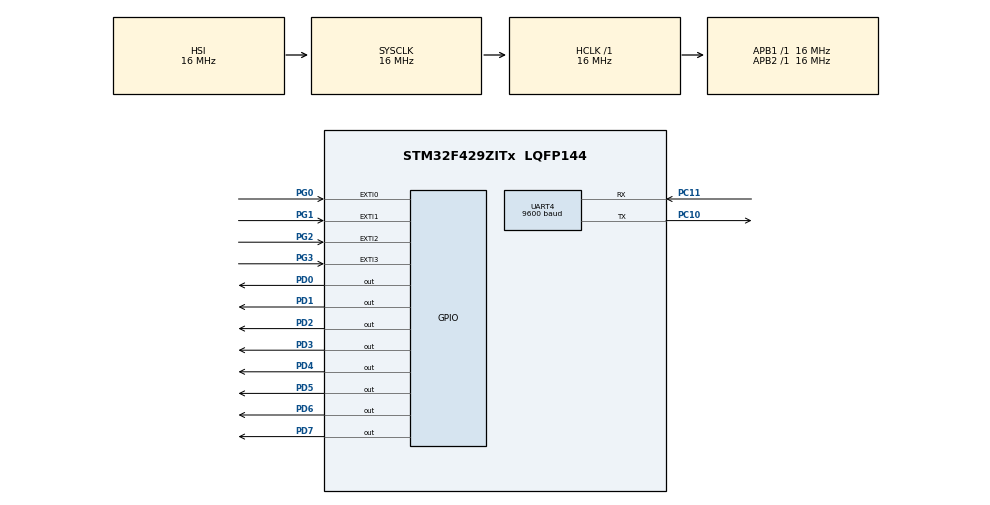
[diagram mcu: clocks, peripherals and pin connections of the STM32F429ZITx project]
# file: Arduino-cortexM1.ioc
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Mcu.Family=STM32F4
Mcu.Name=STM32F429ZITx
Mcu.Package=LQFP144
NVIC.EXTI0_IRQn=true\:0\:0\:false\:false\:true\:true\:true\:true
NVIC.EXTI1_IRQn=true\:0\:0\:false\:false\:true\:true\:true\:true
NVIC.EXTI2_IRQn=true\:0\:0\:false\:false\:true\:true\:true\:true
NVIC.EXTI3_IRQn=true\:0\:0\:false\:false\:true\:true\:true\:true
NVIC.PriorityGroup=NVIC_PRIORITYGROUP_4
NVIC.UART4_IRQn=true\:0\:0\:false\:false\:true\:true\:true\:true
PA13.Mode=Serial_Wire
PA13.Signal=SYS_JTMS-SWDIO
PA14.Mode=Serial_Wire
PA14.Signal=SYS_JTCK-SWCLK
PC10.Mode=Asynchronous
PC10.Signal=UART4_TX
PC11.Mode=Asynchronous
PC11.Signal=UART4_RX
PD0.GPIO_ModeDefaultOutputPP=GPIO_MODE_OUTPUT_PP
PD0.GPIO_PuPd=GPIO_PULLUP
PD0.GPIO_Speed=GPIO_SPEED_FREQ_HIGH
PD0.PinState=GPIO_PIN_RESET
PD0.Signal=GPIO_Output
PD1.GPIO_ModeDefaultOutputPP=GPIO_MODE_OUTPUT_PP
PD1.GPIO_PuPd=GPIO_PULLUP
PD1.GPIO_Speed=GPIO_SPEED_FREQ_HIGH
PD1.PinState=GPIO_PIN_RESET
PD1.Signal=GPIO_Output
PD2.GPIO_PuPd=GPIO_PULLUP
PD2.GPIO_Speed=GPIO_SPEED_FREQ_HIGH
PD2.Signal=GPIO_Output
PD3.GPIO_ModeDefaultOutputPP=GPIO_MODE_OUTPUT_PP
PD3.GPIO_PuPd=GPIO_PULLUP
PD3.GPIO_Speed=GPIO_SPEED_FREQ_HIGH
PD3.PinState=GPIO_PIN_RESET
PD3.Signal=GPIO_Output
PD4.GPIO_ModeDefaultOutputPP=GPIO_MODE_OUTPUT_PP
PD4.GPIO_PuPd=GPIO_PULLUP
PD4.GPIO_Speed=GPIO_SPEED_FREQ_HIGH
PD4.PinState=GPIO_PIN_RESET
PD4.Signal=GPIO_Output
PD5.GPIO_ModeDefaultOutputPP=GPIO_MODE_OUTPUT_PP
PD5.GPIO_PuPd=GPIO_PULLUP
PD5.GPIO_Speed=GPIO_SPEED_FREQ_HIGH
PD5.PinState=GPIO_PIN_RESET
PD5.Signal=GPIO_Output
PD6.GPIO_ModeDefaultOutputPP=GPIO_MODE_OUTPUT_PP
PD6.GPIO_PuPd=GPIO_PULLUP
PD6.GPIO_Speed=GPIO_SPEED_FREQ_HIGH
PD6.PinState=GPIO_PIN_RESET
PD6.Signal=GPIO_Output
PD7.GPIO_ModeDefaultOutputPP=GPIO_MODE_OUTPUT_PP
PD7.GPIO_PuPd=GPIO_PULLUP
PD7.GPIO_Speed=GPIO_SPEED_FREQ_HIGH
PD7.PinState=GPIO_PIN_RESET
PD7.Signal=GPIO_Output
PG0.GPIO_ModeDefaultEXTI=GPIO_MODE_IT_FALLING
PG0.GPIO_PuPd=GPIO_NOPULL
PG0.Signal=GPXTI0
PG1.GPIO_ModeDefaultEXTI=GPIO_MODE_IT_FALLING
PG1.GPIO_PuPd=GPIO_NOPULL
PG1.Signal=GPXTI1
PG2.GPIO_ModeDefaultEXTI=GPIO_MODE_IT_FALLING
PG2.GPIO_PuPd=GPIO_NOPULL
PG2.Signal=GPXTI2
PG3.GPIO_ModeDefaultEXTI=GPIO_MODE_IT_FALLING
PG3.GPIO_PuPd=GPIO_NOPULL
PG3.Signal=GPXTI3
ProjectManager.HeapSize=0x200
ProjectManager.StackSize=0x400
ProjectManager.TargetToolchain=STM32CubeIDE
RCC.AHBFreq_Value=16000000
RCC.APB1Freq_Value=16000000
RCC.APB2Freq_Value=16000000
RCC.CortexFreq_Value=16000000
RCC.HSE_VALUE=25000000
RCC.HSI_VALUE=16000000
RCC.LSE_VALUE=32768
RCC.SYSCLKFreq_VALUE=16000000
RCC.VCOOutputFreq_Value=192000000
UART4.BaudRate=9600
UART4.VirtualMode=Asynchronous
board=custom

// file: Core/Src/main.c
/* USER CODE BEGIN Header */
/**
  ******************************************************************************
  * @file           : main.c
  * @brief          : Main program body
  ******************************************************************************
  * @attention
  *
  * Copyright (c) 2022 STMicroelectronics.
  * All rights reserved.
  *
  * This software is licensed under terms that can be found in the LICENSE file
  * in the root directory of this software component.
  * If no LICENSE file comes with this software, it is provided AS-IS.
  *
  ******************************************************************************
  */
/* USER CODE END Header */
#include "main.h"

/* USER CODE BEGIN PD */
#define TxBufferSize	(countof(TxBuffer)-1)
#define RxBufferSize	0XFF
#define countof(a)		(sizeof(a) / sizeof(*(a)))
/* USER CODE END PD */

UART_HandleTypeDef huart4;

/* USER CODE BEGIN PV */
uint8_t TxBuffer[] = "\n\r\n\r\n\r";
uint8_t RxBuffer[RxBufferSize];
uint8_t TxBuffer_H[] = "1";
uint8_t TxBuffer_L[] = "2";
uint8_t TxBuffer_X[] = "0";
int flag_SW1 = 0, flag_SW2 = 0, flag_SW3 = 0;
uint8_t RxBuffer_UART4[] = "0";

/* USER CODE END PV */

void SystemClock_Config(void);
static void MX_GPIO_Init(void);
static void MX_UART4_Init(void);
/* USER CODE BEGIN PFP */
void LED_OnOff(int, int);
/* USER CODE END PFP */

int main(void)
{
  /* USER CODE BEGIN 1 */
	uint16_t led = 0x01;
  /* USER CODE END 1 */

  /* MCU Configuration--------------------------------------------------------*/

  /* Reset of all peripherals, Initializes the Flash interface and the Systick. */
  HAL_Init();

  /* Configure the system clock */
  SystemClock_Config();

  /* Initialize all configured peripherals */
  MX_GPIO_Init();
  MX_UART4_Init();
  /* USER CODE BEGIN 2 */
  LED_OnOff(LED_ALL, 500);
  HAL_UART_Transmit(&huart4, (uint8_t*)TxBuffer, TxBufferSize, 0xFFFF);
  /* USER CODE END 2 */

  /* Infinite loop */
  while (1)
  {
	  if(flag_SW1 == 1){
		  HAL_UART_Transmit(&huart4, (uint8_t*)TxBuffer_H, 1 ,0xFF);
		  HAL_Delay(10);
		  led <<= 1;
		  if (led > 0x80) led = 0x01;
		  LED_OnOff(led,100);
		  if(HAL_UART_Receive(&huart4, (uint8_t*)RxBuffer_UART4, 1 ,0xFF) == HAL_OK){
			  if(strcmp(RxBuffer_UART4, "1") == 0){
//				  led <<= 1;
//				  if (led > 0x80) led = 0x01;
//				  LED_OnOff(led,100);
				  //HAL_GPIO_WritePin(GPIO_LED, LED_ALL, GPIO_PIN_SET);
			  }
		  }
	  }
	  if(flag_SW2 == 1){
		  HAL_UART_Transmit(&huart4, (uint8_t*)TxBuffer_L, 1 ,0xFF);
		  HAL_Delay(10);
		  led >>= 1;
		  if (led < 0x01) led = 0x80;
		  LED_OnOff(led,100);
		  if(HAL_UART_Receive(&huart4, (uint8_t*)RxBuffer_UART4, 1 ,0xFF) == HAL_OK){
			  if(strcmp(RxBuffer_UART4, "2") == 0){
//				  led >>= 1;
//				  if (led < 0x01) led = 0x80;
//				  LED_OnOff(led,100);
				  //HAL_GPIO_WritePin(GPIO_LED, LED_ALL, GPIO_PIN_RESET);
			  }
		  }
	  }
	  if(flag_SW3 == 1){
		  HAL_UART_Transmit(&huart4, (uint8_t*)TxBuffer_X, 1 ,0xFF);
		  HAL_Delay(10);
		  if(HAL_UART_Receive(&huart4, (uint8_t*)RxBuffer_UART4, 1 ,0xFF) == HAL_OK){
			  if(strcmp(RxBuffer_UART4, "0") == 0)HAL_GPIO_WritePin(GPIO_LED, LED_ALL, GPIO_PIN_RESET);
		  }
	  }
  }
}

void SystemClock_Config(void)
{
  RCC_OscInitTypeDef RCC_OscInitStruct = {0};
  RCC_ClkInitTypeDef RCC_ClkInitStruct = {0};

  /** Configure the main internal regulator output voltage
  */
  __HAL_RCC_PWR_CLK_ENABLE();
  __HAL_PWR_VOLTAGESCALING_CONFIG(PWR_REGULATOR_VOLTAGE_SCALE3);

  /** Initializes the RCC Oscillators according to the specified parameters
  * in the RCC_OscInitTypeDef structure.
  */
  RCC_OscInitStruct.OscillatorType = RCC_OSCILLATORTYPE_HSI;
  RCC_OscInitStruct.HSIState = RCC_HSI_ON;
  RCC_OscInitStruct.HSICalibrationValue = RCC_HSICALIBRATION_DEFAULT;
  RCC_OscInitStruct.PLL.PLLState = RCC_PLL_NONE;
  if (HAL_RCC_OscConfig(&RCC_OscInitStruct) != HAL_OK)
  {
    Error_Handler();
  }

  /** Initializes the CPU, AHB and APB buses clocks
  */
  RCC_ClkInitStruct.ClockType = RCC_CLOCKTYPE_HCLK|RCC_CLOCKTYPE_SYSCLK
                              |RCC_CLOCKTYPE_PCLK1|RCC_CLOCKTYPE_PCLK2;
  RCC_ClkInitStruct.SYSCLKSource = RCC_SYSCLKSOURCE_HSI;
  RCC_ClkInitStruct.AHBCLKDivider = RCC_SYSCLK_DIV1;
  RCC_ClkInitStruct.APB1CLKDivider = RCC_HCLK_DIV1;
  RCC_ClkInitStruct.APB2CLKDivider = RCC_HCLK_DIV1;

  if (HAL_RCC_ClockConfig(&RCC_ClkInitStruct, FLASH_LATENCY_0) != HAL_OK)
  {
    Error_Handler();
  }
}

static void MX_UART4_Init(void)
{

  huart4.Instance = UART4;
  huart4.Init.BaudRate = 9600;
  huart4.Init.WordLength = UART_WORDLENGTH_8B;
  huart4.Init.StopBits = UART_STOPBITS_1;
  huart4.Init.Parity = UART_PARITY_NONE;
  huart4.Init.Mode = UART_MODE_TX_RX;
  huart4.Init.HwFlowCtl = UART_HWCONTROL_NONE;
  huart4.Init.OverSampling = UART_OVERSAMPLING_16;
  if (HAL_UART_Init(&huart4) != HAL_OK)
  {
    Error_Handler();
  }

}

static void MX_GPIO_Init(void)
{
  GPIO_InitTypeDef GPIO_InitStruct = {0};

  /* GPIO Ports Clock Enable */
  __HAL_RCC_GPIOG_CLK_ENABLE();
  __HAL_RCC_GPIOA_CLK_ENABLE();
  __HAL_RCC_GPIOC_CLK_ENABLE();
  __HAL_RCC_GPIOD_CLK_ENABLE();

  /*Configure GPIO pin Output Level */
  HAL_GPIO_WritePin(GPIOD, GPIO_PIN_0|GPIO_PIN_1|GPIO_PIN_2|GPIO_PIN_3
                          |GPIO_PIN_4|GPIO_PIN_5|GPIO_PIN_6|GPIO_PIN_7, GPIO_PIN_RESET);

  /*Configure GPIO pins : PG0 PG1 PG2 PG3 */
  GPIO_InitStruct.Pin = GPIO_PIN_0|GPIO_PIN_1|GPIO_PIN_2|GPIO_PIN_3;
  GPIO_InitStruct.Mode = GPIO_MODE_IT_FALLING;
  GPIO_InitStruct.Pull = GPIO_NOPULL;
  HAL_GPIO_Init(GPIOG, &GPIO_InitStruct);

  /*Configure GPIO pins : PD0 PD1 PD2 PD3
                           PD4 PD5 PD6 PD7 */
  GPIO_InitStruct.Pin = GPIO_PIN_0|GPIO_PIN_1|GPIO_PIN_2|GPIO_PIN_3
                          |GPIO_PIN_4|GPIO_PIN_5|GPIO_PIN_6|GPIO_PIN_7;
  GPIO_InitStruct.Mode = GPIO_MODE_OUTPUT_PP;
  GPIO_InitStruct.Pull = GPIO_PULLUP;
  GPIO_InitStruct.Speed = GPIO_SPEED_FREQ_HIGH;
  HAL_GPIO_Init(GPIOD, &GPIO_InitStruct);

  /* EXTI interrupt init*/
  HAL_NVIC_SetPriority(EXTI0_IRQn, 0, 0);
  HAL_NVIC_EnableIRQ(EXTI0_IRQn);

  HAL_NVIC_SetPriority(EXTI1_IRQn, 0, 0);
  HAL_NVIC_EnableIRQ(EXTI1_IRQn);

  HAL_NVIC_SetPriority(EXTI2_IRQn, 0, 0);
  HAL_NVIC_EnableIRQ(EXTI2_IRQn);

  HAL_NVIC_SetPriority(EXTI3_IRQn, 0, 0);
  HAL_NVIC_EnableIRQ(EXTI3_IRQn);

}

/* USER CODE BEGIN 4 */
void LED_OnOff(int led, int interval){
	HAL_GPIO_WritePin(GPIO_LED, led, GPIO_PIN_SET);
	HAL_GPIO_WritePin(GPIO_LED_Nucleo, led, GPIO_PIN_SET);
	HAL_Delay(interval);
	HAL_GPIO_WritePin(GPIO_LED, led, GPIO_PIN_RESET);
	HAL_GPIO_WritePin(GPIO_LED_Nucleo, led, GPIO_PIN_RESET);
}

void HAL_GPIO_EXTI_Callback(uint16_t GPIO_PIN){
   if(GPIO_PIN == SW1){
      flag_SW1 = 1;
      flag_SW2 = 0;
      flag_SW3 = 0;
   }
   if(GPIO_PIN == SW2){
      flag_SW1 = 0;
      flag_SW2 = 1;
      flag_SW3 = 0;
   }
   if(GPIO_PIN == SW3){
      flag_SW1 = 0;
      flag_SW2 = 0;
      flag_SW3 = 1;
   }
}
/* USER CODE END 4 */

void Error_Handler(void)
{
  __disable_irq();
  while (1)
  {
  }
}
